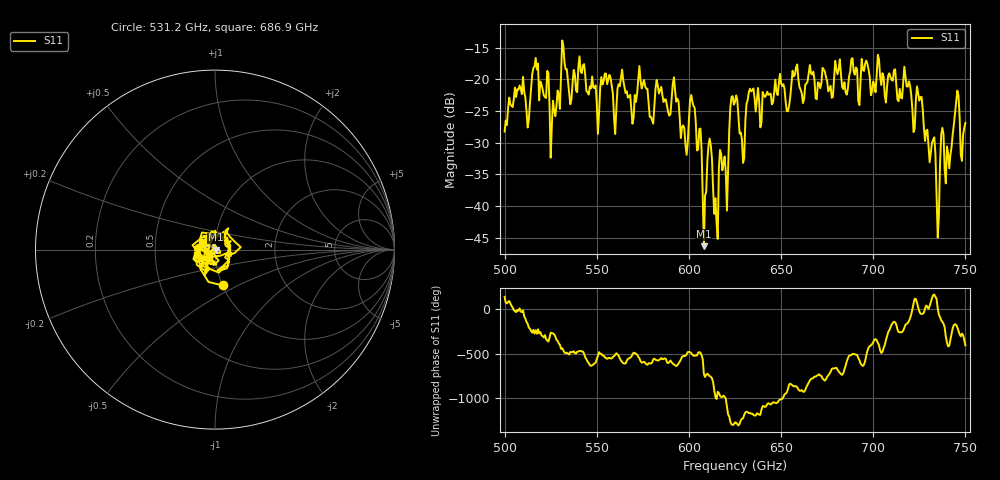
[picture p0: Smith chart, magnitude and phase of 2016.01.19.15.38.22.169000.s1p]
!Created with skrf (http://scikit-rf.org).
# GHz S RI R 50.0
!freq ReS11 ImS11
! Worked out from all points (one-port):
!   401 points, 500 GHz to 750 GHz, reference 50 ohm
!   lowest |S11| = -46.4 dB at 608.1 GHz (marker M1), VSWR 1.01, Z = 50.5 - j0.0727 ohm
!   |S11| at or under -10 dB: start of sweep to end of sweep
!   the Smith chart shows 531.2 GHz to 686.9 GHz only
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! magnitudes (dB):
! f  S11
! 500 GHz  -28.2
! 508.8 GHz  -21.5
! 513.1 GHz  -26.4
! 516.9 GHz  -16.6
! 526.2 GHz  -23.4
! 531.2 GHz  -13.8
! 550 GHz  -23.8
! 562.5 GHz  -21.1
! 580 GHz  -26.4
! 583.1 GHz  -21.0
! 593.8 GHz  -23.1
! 598.1 GHz  -30.4
! 601.9 GHz  -23.5
! 608.1 GHz  -46.4
! 611.2 GHz  -29.3
! 614.4 GHz  -38.8
! 625 GHz  -23.6
! 628.8 GHz  -29.4
! 633.8 GHz  -21.9
! 656.2 GHz  -18.6
! 687.5 GHz  -18.8
! 718.8 GHz  -21.1
! 732.5 GHz  -29.5
! 735 GHz  -45.0
! 737.5 GHz  -27.6
! 740.6 GHz  -31.6
! 745 GHz  -23.3
! 750 GHz  -26.9
